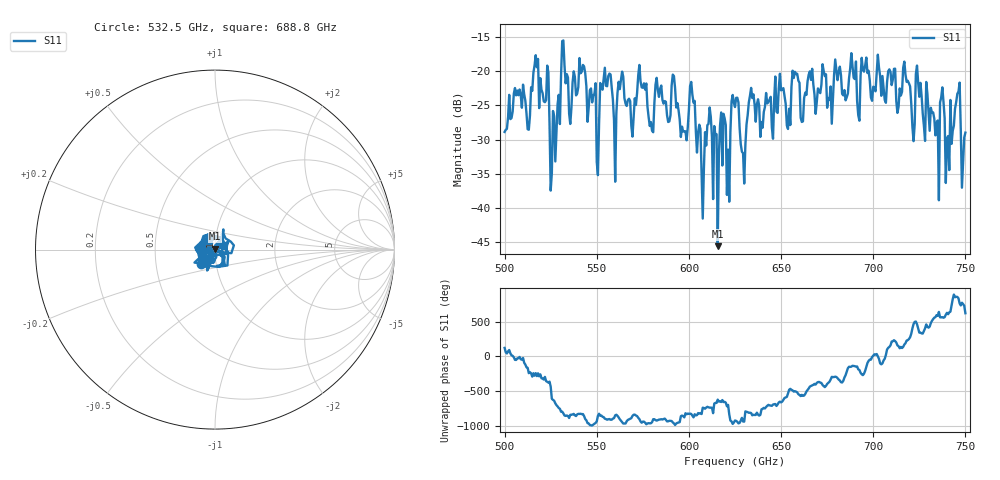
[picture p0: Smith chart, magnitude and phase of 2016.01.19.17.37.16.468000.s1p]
!Created with skrf (http://scikit-rf.org).
# GHz S RI R 50.0
!freq ReS11 ImS11
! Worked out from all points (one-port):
!   401 points, 500 GHz to 750 GHz, reference 50 ohm
!   lowest |S11| = -45.6 dB at 615.6 GHz (marker M1), VSWR 1.01, Z = 49.9 + j0.522 ohm
!   |S11| at or under -10 dB: start of sweep to end of sweep
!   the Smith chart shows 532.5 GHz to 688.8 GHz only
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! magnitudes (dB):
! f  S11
! 500 GHz  -28.9
! 512.5 GHz  -28.5
! 516.9 GHz  -17.7
! 526.2 GHz  -25.8
! 531.2 GHz  -15.6
! 535.6 GHz  -27.7
! 541.9 GHz  -20.1
! 550 GHz  -33.3
! 553.1 GHz  -22.7
! 560 GHz  -36.2
! 562.5 GHz  -22.6
! 593.8 GHz  -24.7
! 601.9 GHz  -23.5
! 606.9 GHz  -35.3
! 615.6 GHz  -45.6
! 618.8 GHz  -26.2
! 621.2 GHz  -31.5
! 625 GHz  -25.3
! 629.4 GHz  -32.0
! 633.8 GHz  -22.5
! 656.2 GHz  -19.9
! 687.5 GHz  -19.6
! 718.8 GHz  -21.4
! 734.4 GHz  -27.5
! 737.5 GHz  -22.4
! 740 GHz  -29.8
! 745.6 GHz  -23.3
! 750 GHz  -29.0
